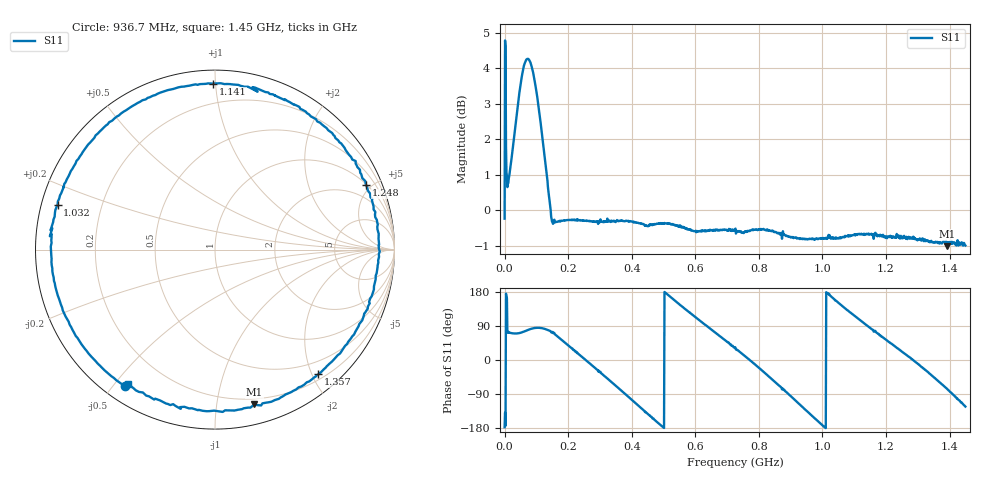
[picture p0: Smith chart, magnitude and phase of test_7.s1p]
! Created with skrf 1.11.0 (http://scikit-rf.org).
# Hz S RI R 50.0
!freq ReS11 ImS11
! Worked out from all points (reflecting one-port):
!   1001 points, 50 kHz to 1.45 GHz, reference 50 ohm
!   lowest |S11| = -1.0 dB at 1.392 GHz (marker M1), VSWR 17.22, Z = 7.67 - j63.7 ohm
!   phase of S11 starts at -178 deg and turns -1025 deg over the sweep
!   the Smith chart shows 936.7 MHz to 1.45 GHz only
!   S11 on the Smith chart (normalised r, x): 936.7 MHz: 0.06, -0.54; 1.032 GHz: 0.05, +0.14; 1.141 GHz: 0.08, +0.99; 1.248 GHz: 1.07, +4.65; 1.357 GHz: 0.28, -2.10; 1.45 GHz: 0.07, -0.54
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50000  -0.9723 -0.0421
1.599945e7  0.3481 1.075
6.819765e7  0.3546 1.59
1.16046e8  0.1294 1.291
1.812938e8  0.5981 0.7592
2.276922e8  0.9181 0.304
2.682908e8  0.9525 -0.155
3.088894e8  0.7556 -0.5989
3.625375e8  0.2141 -0.9418
4.103858e8  -0.3689 -0.8881
4.65484e8  -0.8581 -0.4144
5.437812e8  -0.8337 0.4589
6.351281e8  -0.0087 0.9351
7.25025e8  0.8005 0.4907
8.076722e8  0.8435 -0.4123
8.584204e8  0.4155 -0.8301
9.062688e8  -0.154 -0.9038
9.367177e8  -0.5027 -0.7592
9.86016e8  -0.8637 -0.2893
1.032414e9  -0.8772 0.2501
1.087512e9  -0.5364 0.7466
1.141161e9  -0.00929 0.925
1.189009e9  0.4513 0.8042
1.248457e9  0.8404 0.3592
1.268756e9  0.9016 0.1653
1.357203e9  0.5756 -0.6937
1.392002e9  0.2195 -0.8627
1.45e9  -0.4852 -0.7486
